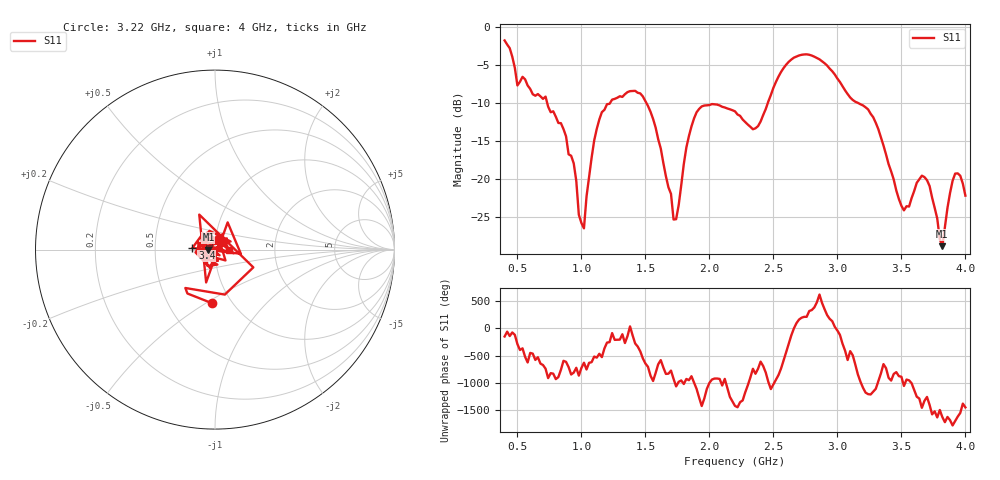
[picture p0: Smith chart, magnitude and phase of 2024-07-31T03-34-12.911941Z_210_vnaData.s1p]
!Created with skrf (http://scikit-rf.org).
# Hz S RI R 50.0
!freq ReS11 ImS11
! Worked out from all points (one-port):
!   181 points, 400 MHz to 4 GHz, reference 50 ohm
!   lowest |S11| = -28.8 dB at 3.82 GHz (marker M1), VSWR 1.08, Z = 46.5 + j0.0209 ohm
!   |S11| at or under -10 dB: 733.6 MHz to 1.222 GHz (488.1 MHz wide, 49.9 % of centre); 1.51 GHz to 2.455 GHz (945.6 MHz wide, 47.7 % of centre); 3.168 GHz to end of sweep
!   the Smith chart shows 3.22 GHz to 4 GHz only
!   S11 on the Smith chart (normalised r, x): 3.22 GHz: 0.81, -0.53; 3.4 GHz: 0.78, +0.02; 4 GHz: 1.17, -0.01
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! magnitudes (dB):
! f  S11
! 400 MHz  -1.7
! 500 MHz  -7.6
! 720 MHz  -9.1
! 860 MHz  -13.4
! 940 MHz  -17.9
! 980 MHz  -24.7
! 1.02 GHz  -26.4
! 1.12 GHz  -13.3
! 1.3 GHz  -9.1
! 1.48 GHz  -9.1
! 1.58 GHz  -13.2
! 1.72 GHz  -25.3
! 1.76 GHz  -23.4
! 1.82 GHz  -15.8
! 1.9 GHz  -11.2
! 2.2 GHz  -11.0
! 2.38 GHz  -13.0
! 2.66 GHz  -4.0
! 2.86 GHz  -4.2
! 3.1 GHz  -9.2
! 3.22 GHz  -10.5
! 3.4 GHz  -18.0
! 3.5 GHz  -23.5
! 3.56 GHz  -23.6
! 3.68 GHz  -19.7
! 3.82 GHz  -28.8
! 3.92 GHz  -19.2
! 4 GHz  -22.1
